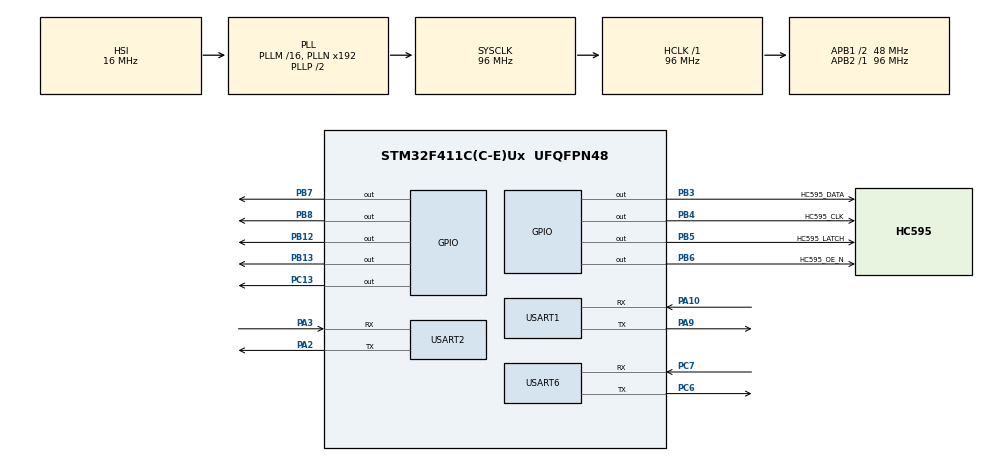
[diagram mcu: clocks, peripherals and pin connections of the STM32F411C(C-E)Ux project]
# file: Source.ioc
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Dma.Request0=USART1_TX
Dma.Request1=USART1_RX
Dma.Request2=USART2_TX
Dma.Request3=USART2_RX
Dma.Request4=USART6_TX
Dma.Request5=USART6_RX
Dma.USART1_RX.1.Direction=DMA_PERIPH_TO_MEMORY
Dma.USART1_RX.1.FIFOMode=DMA_FIFOMODE_DISABLE
Dma.USART1_RX.1.Instance=DMA2_Stream2
Dma.USART1_RX.1.MemDataAlignment=DMA_MDATAALIGN_BYTE
Dma.USART1_RX.1.MemInc=DMA_MINC_ENABLE
Dma.USART1_RX.1.Mode=DMA_CIRCULAR
Dma.USART1_RX.1.PeriphDataAlignment=DMA_PDATAALIGN_BYTE
Dma.USART1_RX.1.PeriphInc=DMA_PINC_DISABLE
Dma.USART1_RX.1.Priority=DMA_PRIORITY_LOW
Dma.USART1_TX.0.Direction=DMA_MEMORY_TO_PERIPH
Dma.USART1_TX.0.FIFOMode=DMA_FIFOMODE_DISABLE
Dma.USART1_TX.0.Instance=DMA2_Stream7
Dma.USART1_TX.0.MemDataAlignment=DMA_MDATAALIGN_BYTE
Dma.USART1_TX.0.MemInc=DMA_MINC_ENABLE
Dma.USART1_TX.0.Mode=DMA_NORMAL
Dma.USART1_TX.0.PeriphDataAlignment=DMA_PDATAALIGN_BYTE
Dma.USART1_TX.0.PeriphInc=DMA_PINC_DISABLE
Dma.USART1_TX.0.Priority=DMA_PRIORITY_LOW
Dma.USART2_RX.3.Direction=DMA_PERIPH_TO_MEMORY
Dma.USART2_RX.3.FIFOMode=DMA_FIFOMODE_DISABLE
Dma.USART2_RX.3.Instance=DMA1_Stream5
Dma.USART2_RX.3.MemDataAlignment=DMA_MDATAALIGN_BYTE
Dma.USART2_RX.3.MemInc=DMA_MINC_ENABLE
Dma.USART2_RX.3.Mode=DMA_CIRCULAR
Dma.USART2_RX.3.PeriphDataAlignment=DMA_PDATAALIGN_BYTE
Dma.USART2_RX.3.PeriphInc=DMA_PINC_DISABLE
Dma.USART2_RX.3.Priority=DMA_PRIORITY_LOW
Dma.USART2_TX.2.Direction=DMA_MEMORY_TO_PERIPH
Dma.USART2_TX.2.FIFOMode=DMA_FIFOMODE_DISABLE
Dma.USART2_TX.2.Instance=DMA1_Stream6
Dma.USART2_TX.2.MemDataAlignment=DMA_MDATAALIGN_BYTE
Dma.USART2_TX.2.MemInc=DMA_MINC_ENABLE
Dma.USART2_TX.2.Mode=DMA_NORMAL
Dma.USART2_TX.2.PeriphDataAlignment=DMA_PDATAALIGN_BYTE
Dma.USART2_TX.2.PeriphInc=DMA_PINC_DISABLE
Dma.USART2_TX.2.Priority=DMA_PRIORITY_LOW
Dma.USART6_RX.5.Direction=DMA_PERIPH_TO_MEMORY
Dma.USART6_RX.5.FIFOMode=DMA_FIFOMODE_DISABLE
Dma.USART6_RX.5.Instance=DMA2_Stream1
Dma.USART6_RX.5.MemDataAlignment=DMA_MDATAALIGN_BYTE
Dma.USART6_RX.5.MemInc=DMA_MINC_ENABLE
Dma.USART6_RX.5.Mode=DMA_CIRCULAR
Dma.USART6_RX.5.PeriphDataAlignment=DMA_PDATAALIGN_BYTE
Dma.USART6_RX.5.PeriphInc=DMA_PINC_DISABLE
Dma.USART6_RX.5.Priority=DMA_PRIORITY_LOW
Dma.USART6_TX.4.Direction=DMA_MEMORY_TO_PERIPH
Dma.USART6_TX.4.FIFOMode=DMA_FIFOMODE_DISABLE
Dma.USART6_TX.4.Instance=DMA2_Stream6
Dma.USART6_TX.4.MemDataAlignment=DMA_MDATAALIGN_BYTE
Dma.USART6_TX.4.MemInc=DMA_MINC_ENABLE
Dma.USART6_TX.4.Mode=DMA_NORMAL
Dma.USART6_TX.4.PeriphDataAlignment=DMA_PDATAALIGN_BYTE
Dma.USART6_TX.4.PeriphInc=DMA_PINC_DISABLE
Dma.USART6_TX.4.Priority=DMA_PRIORITY_LOW
FREERTOS.Tasks01=defaultTask,24,768,StartDefaultTask,Default,NULL,Static,NULL,NULL
Mcu.Family=STM32F4
Mcu.Name=STM32F411C(C-E)Ux
Mcu.Package=UFQFPN48
NVIC.DMA1_Stream5_IRQn=true\:5\:0\:false\:false\:true\:true\:false\:true\:true
NVIC.DMA1_Stream6_IRQn=true\:5\:0\:false\:false\:true\:true\:false\:true\:true
NVIC.DMA2_Stream1_IRQn=true\:5\:0\:false\:false\:true\:true\:false\:true\:true
NVIC.DMA2_Stream2_IRQn=true\:5\:0\:false\:false\:true\:true\:false\:true\:true
NVIC.DMA2_Stream6_IRQn=true\:5\:0\:false\:false\:true\:true\:false\:true\:true
NVIC.DMA2_Stream7_IRQn=true\:5\:0\:false\:false\:true\:true\:false\:true\:true
NVIC.PriorityGroup=NVIC_PRIORITYGROUP_4
NVIC.TIM1_TRG_COM_TIM11_IRQn=true\:15\:0\:false\:false\:true\:false\:false\:true\:true
NVIC.TimeBase=TIM1_TRG_COM_TIM11_IRQn
NVIC.TimeBaseIP=TIM11
NVIC.USART1_IRQn=true\:5\:0\:false\:false\:true\:true\:false\:true\:true
NVIC.USART2_IRQn=true\:5\:0\:false\:false\:true\:true\:true\:true\:true
NVIC.USART6_IRQn=true\:5\:0\:false\:false\:true\:true\:false\:true\:true
PA10.Mode=Asynchronous
PA10.Signal=USART1_RX
PA2.Mode=Asynchronous
PA2.Signal=USART2_TX
PA3.Mode=Asynchronous
PA3.Signal=USART2_RX
PA9.Mode=Asynchronous
PA9.Signal=USART1_TX
PC6.Mode=Asynchronous
PC6.Signal=USART6_TX
PC7.Mode=Asynchronous
PC7.Signal=USART6_RX
PB12.Signal=GPIO_Output
PB13.Signal=GPIO_Output
PB3.GPIO_Label=HC595_DATA
PB3.Signal=GPIO_Output
PB4.GPIO_Label=HC595_CLK
PB4.Signal=GPIO_Output
PB5.GPIO_Label=HC595_LATCH
PB5.Signal=GPIO_Output
PB6.GPIO_Label=HC595_OE_N
PB6.Signal=GPIO_Output
PB7.Signal=GPIO_Output
PB8.Signal=GPIO_Output
PC13-ANTI_TAMP.Signal=GPIO_Output
ProjectManager.HeapSize=0x200
ProjectManager.StackSize=0x400
ProjectManager.TargetToolchain=CMake
RCC.AHBFreq_Value=96000000
RCC.APB1CLKDivider=RCC_HCLK_DIV2
RCC.APB1Freq_Value=48000000
RCC.APB1TimFreq_Value=96000000
RCC.APB2Freq_Value=96000000
RCC.APB2TimFreq_Value=96000000
RCC.CortexFreq_Value=96000000
RCC.HCLKFreq_Value=96000000
RCC.HSE_VALUE=25000000
RCC.HSI_VALUE=16000000
RCC.LSE_VALUE=32768
RCC.SYSCLKFreq_VALUE=96000000
RCC.SYSCLKSource=RCC_SYSCLKSOURCE_PLLCLK
RCC.VCOOutputFreq_Value=192000000
USART1.VirtualMode=VM_ASYNC
USART2.VirtualMode=VM_ASYNC
USART6.VirtualMode=VM_ASYNC
VP_FREERTOS_VS_CMSIS_V2.Mode=CMSIS_V2
VP_SYS_VS_tim11.Mode=TIM11
VP_WWDG_VS_WWDG.Mode=WWDG_Activate
WWDG.Counter=127
WWDG.Prescaler=WWDG_PRESCALER_8
WWDG.Window=127
board=custom

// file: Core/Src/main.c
/* USER CODE BEGIN Header */
/**
  ******************************************************************************
  * @file           : main.c
  * @brief          : Main program body
  ******************************************************************************
  * @attention
  *
  * Copyright (c) 2026 STMicroelectronics.
  * All rights reserved.
  *
  * This software is licensed under terms that can be found in the LICENSE file
  * in the root directory of this software component.
  * If no LICENSE file comes with this software, it is provided AS-IS.
  *
  ******************************************************************************
  */
/* USER CODE END Header */
#include "main.h"
#include "cmsis_os.h"
#include "FreeRTOS.h"
#include "task.h"

/* USER CODE BEGIN Includes */
#include "router_application.h"
#include "log.h"

/* USER CODE END Includes */

UART_HandleTypeDef huart1;
UART_HandleTypeDef huart2;
UART_HandleTypeDef huart6;
DMA_HandleTypeDef hdma_usart1_tx;
DMA_HandleTypeDef hdma_usart1_rx;
DMA_HandleTypeDef hdma_usart2_tx;
DMA_HandleTypeDef hdma_usart2_rx;
DMA_HandleTypeDef hdma_usart6_tx;
DMA_HandleTypeDef hdma_usart6_rx;

WWDG_HandleTypeDef hwwdg;

/* Definitions for defaultTask */
osThreadId_t defaultTaskHandle;
const osThreadAttr_t defaultTask_attributes = {
  .name = "defaultTask",
  .stack_size = 128 * 4,
  .priority = (osPriority_t) osPriorityNormal,
};

void SystemClock_Config(void);
static void MX_GPIO_Init(void);
static void MX_DMA_Init(void);
static void MX_USART1_UART_Init(void);
static void MX_WWDG_Init(void);
static void MX_USART2_UART_Init(void);
static void MX_USART6_UART_Init(void);
void StartDefaultTask(void *argument);

/* USER CODE BEGIN 0 */

/* Static-only FreeRTOS needs application-owned memory for the idle task. The
 * router itself is the only application task created by this project. */
static StaticTask_t idle_task_tcb;
static StackType_t idle_task_stack[configMINIMAL_STACK_SIZE];

void vApplicationGetIdleTaskMemory(StaticTask_t **tcb, StackType_t **stack,
                                   uint32_t *stack_size)
{
  *tcb = &idle_task_tcb;
  *stack = idle_task_stack;
  *stack_size = configMINIMAL_STACK_SIZE;
}

#if (configUSE_TIMERS == 1)
static StaticTask_t timer_task_tcb;
static StackType_t timer_task_stack[configTIMER_TASK_STACK_DEPTH];

void vApplicationGetTimerTaskMemory(StaticTask_t **tcb, StackType_t **stack,
                                    uint32_t *stack_size)
{
  *tcb = &timer_task_tcb;
  *stack = timer_task_stack;
  *stack_size = configTIMER_TASK_STACK_DEPTH;
}
#endif

/* USER CODE END 0 */

int main(void)
{

  /* MCU Configuration--------------------------------------------------------*/

  /* Reset of all peripherals, Initializes the Flash interface and the Systick. */
  HAL_Init();
  log_init();

  /* Configure the system clock */
  SystemClock_Config();

  /* Initialize all configured peripherals */
  MX_GPIO_Init();
  MX_DMA_Init();
  MX_USART1_UART_Init();
  MX_WWDG_Init();
  MX_USART2_UART_Init();
  MX_USART6_UART_Init();
  /* USER CODE BEGIN 2 */
  log_println("[BOOT] UART1=debug UART2=PC UART6=GOM");
  /* Application init is after GPIO/UART init: relay_matrix_init() forces all
     eight coils off before the scheduler can accept any PC command. */
  router_application_init();

  /* USER CODE END 2 */

  /* Init scheduler */
  osKernelInitialize();

  /* Create the thread(s) */
  /* creation of defaultTask */
  defaultTaskHandle = router_application_create_task(StartDefaultTask,
                                                      &defaultTask_attributes);

  /* Start scheduler */
  osKernelStart();

  /* We should never get here as control is now taken by the scheduler */

  /* Infinite loop */
  while (1)
  {

  }
}

void SystemClock_Config(void)
{
  RCC_OscInitTypeDef RCC_OscInitStruct = {0};
  RCC_ClkInitTypeDef RCC_ClkInitStruct = {0};

  /** Configure the main internal regulator output voltage
  */
  __HAL_RCC_PWR_CLK_ENABLE();
  __HAL_PWR_VOLTAGESCALING_CONFIG(PWR_REGULATOR_VOLTAGE_SCALE1);

  /** Initializes the RCC Oscillators according to the specified parameters
  * in the RCC_OscInitTypeDef structure.
  */
  RCC_OscInitStruct.OscillatorType = RCC_OSCILLATORTYPE_HSI;
  RCC_OscInitStruct.HSIState = RCC_HSI_ON;
  RCC_OscInitStruct.HSICalibrationValue = RCC_HSICALIBRATION_DEFAULT;
  RCC_OscInitStruct.PLL.PLLState = RCC_PLL_ON;
  RCC_OscInitStruct.PLL.PLLSource = RCC_PLLSOURCE_HSI;
  RCC_OscInitStruct.PLL.PLLM = 16;
  RCC_OscInitStruct.PLL.PLLN = 192;
  RCC_OscInitStruct.PLL.PLLP = RCC_PLLP_DIV2;
  RCC_OscInitStruct.PLL.PLLQ = 4;
  if (HAL_RCC_OscConfig(&RCC_OscInitStruct) != HAL_OK)
  {
    Error_Handler();
  }

  /** Initializes the CPU, AHB and APB buses clocks
  */
  RCC_ClkInitStruct.ClockType = RCC_CLOCKTYPE_HCLK|RCC_CLOCKTYPE_SYSCLK
                              |RCC_CLOCKTYPE_PCLK1|RCC_CLOCKTYPE_PCLK2;
  RCC_ClkInitStruct.SYSCLKSource = RCC_SYSCLKSOURCE_PLLCLK;
  RCC_ClkInitStruct.AHBCLKDivider = RCC_SYSCLK_DIV1;
  RCC_ClkInitStruct.APB1CLKDivider = RCC_HCLK_DIV2;
  RCC_ClkInitStruct.APB2CLKDivider = RCC_HCLK_DIV1;

  if (HAL_RCC_ClockConfig(&RCC_ClkInitStruct, FLASH_LATENCY_3) != HAL_OK)
  {
    Error_Handler();
  }
}

static void MX_USART1_UART_Init(void)
{

  huart1.Instance = USART1;
  huart1.Init.BaudRate = 115200;
  huart1.Init.WordLength = UART_WORDLENGTH_8B;
  huart1.Init.StopBits = UART_STOPBITS_1;
  huart1.Init.Parity = UART_PARITY_NONE;
  huart1.Init.Mode = UART_MODE_TX_RX;
  huart1.Init.HwFlowCtl = UART_HWCONTROL_NONE;
  huart1.Init.OverSampling = UART_OVERSAMPLING_16;
  if (HAL_UART_Init(&huart1) != HAL_OK)
  {
    Error_Handler();
  }

}

static void MX_USART2_UART_Init(void)
{

  huart2.Instance = USART2;
  huart2.Init.BaudRate = 115200;
  huart2.Init.WordLength = UART_WORDLENGTH_8B;
  huart2.Init.StopBits = UART_STOPBITS_1;
  huart2.Init.Parity = UART_PARITY_NONE;
  huart2.Init.Mode = UART_MODE_TX_RX;
  huart2.Init.HwFlowCtl = UART_HWCONTROL_NONE;
  huart2.Init.OverSampling = UART_OVERSAMPLING_16;
  if (HAL_UART_Init(&huart2) != HAL_OK)
  {
    Error_Handler();
  }

}

static void MX_USART6_UART_Init(void)
{
  huart6.Instance = USART6;
  huart6.Init.BaudRate = 115200;
  huart6.Init.WordLength = UART_WORDLENGTH_8B;
  huart6.Init.StopBits = UART_STOPBITS_1;
  huart6.Init.Parity = UART_PARITY_NONE;
  huart6.Init.Mode = UART_MODE_TX_RX;
  huart6.Init.HwFlowCtl = UART_HWCONTROL_NONE;
  huart6.Init.OverSampling = UART_OVERSAMPLING_16;
  if (HAL_UART_Init(&huart6) != HAL_OK)
  {
    Error_Handler();
  }
}

static void MX_WWDG_Init(void)
{

  hwwdg.Instance = WWDG;
  hwwdg.Init.Prescaler = WWDG_PRESCALER_8;
  hwwdg.Init.Window = 127;
  hwwdg.Init.Counter = 127;
  hwwdg.Init.EWIMode = WWDG_EWI_DISABLE;
  if (HAL_WWDG_Init(&hwwdg) != HAL_OK)
  {
    Error_Handler();
  }

}

static void MX_DMA_Init(void)
{

  /* DMA controller clock enable */
  __HAL_RCC_DMA2_CLK_ENABLE();
  __HAL_RCC_DMA1_CLK_ENABLE();

  /* DMA interrupt init */
  /* DMA1_Stream5_IRQn interrupt configuration */
  HAL_NVIC_SetPriority(DMA1_Stream5_IRQn, 5, 0);
  HAL_NVIC_EnableIRQ(DMA1_Stream5_IRQn);
  /* DMA1_Stream6_IRQn interrupt configuration */
  HAL_NVIC_SetPriority(DMA1_Stream6_IRQn, 5, 0);
  HAL_NVIC_EnableIRQ(DMA1_Stream6_IRQn);
  /* DMA2_Stream1_IRQn interrupt configuration */
  HAL_NVIC_SetPriority(DMA2_Stream1_IRQn, 5, 0);
  HAL_NVIC_EnableIRQ(DMA2_Stream1_IRQn);
  /* DMA2_Stream6_IRQn interrupt configuration */
  HAL_NVIC_SetPriority(DMA2_Stream6_IRQn, 5, 0);
  HAL_NVIC_EnableIRQ(DMA2_Stream6_IRQn);
  /* DMA2_Stream2_IRQn interrupt configuration */
  HAL_NVIC_SetPriority(DMA2_Stream2_IRQn, 5, 0);
  HAL_NVIC_EnableIRQ(DMA2_Stream2_IRQn);
  /* DMA2_Stream7_IRQn interrupt configuration */
  HAL_NVIC_SetPriority(DMA2_Stream7_IRQn, 5, 0);
  HAL_NVIC_EnableIRQ(DMA2_Stream7_IRQn);

}

static void MX_GPIO_Init(void)
{
  GPIO_InitTypeDef GPIO_InitStruct = {0};

  /* GPIO Ports Clock Enable */
  __HAL_RCC_GPIOC_CLK_ENABLE();
  __HAL_RCC_GPIOA_CLK_ENABLE();
  __HAL_RCC_GPIOB_CLK_ENABLE();

  /*Configure GPIO pin Output Level */
  HAL_GPIO_WritePin(GPIOC, GPIO_PIN_13, GPIO_PIN_RESET);

  /*Configure GPIO pin Output Level */
  /* PB6 is 74HC595 /OE (active low): keep relay outputs disabled during
     peripheral initialisation. */
  HAL_GPIO_WritePin(GPIOB, GPIO_PIN_12|GPIO_PIN_13|GPIO_PIN_3|GPIO_PIN_4
                          |GPIO_PIN_5|GPIO_PIN_7|GPIO_PIN_8, GPIO_PIN_RESET);
  HAL_GPIO_WritePin(GPIOB, GPIO_PIN_6, GPIO_PIN_SET);

  /*Configure GPIO pin : PC13 */
  GPIO_InitStruct.Pin = GPIO_PIN_13;
  GPIO_InitStruct.Mode = GPIO_MODE_OUTPUT_PP;
  GPIO_InitStruct.Pull = GPIO_NOPULL;
  GPIO_InitStruct.Speed = GPIO_SPEED_FREQ_LOW;
  HAL_GPIO_Init(GPIOC, &GPIO_InitStruct);

  /*Configure GPIO pins : PB12 PB13 PB3 PB4
                           PB5 PB6 PB7 PB8 */
  GPIO_InitStruct.Pin = GPIO_PIN_12|GPIO_PIN_13|GPIO_PIN_3|GPIO_PIN_4
                          |GPIO_PIN_5|GPIO_PIN_6|GPIO_PIN_7|GPIO_PIN_8;
  GPIO_InitStruct.Mode = GPIO_MODE_OUTPUT_PP;
  GPIO_InitStruct.Pull = GPIO_NOPULL;
  GPIO_InitStruct.Speed = GPIO_SPEED_FREQ_LOW;
  HAL_GPIO_Init(GPIOB, &GPIO_InitStruct);

}

void StartDefaultTask(void *argument)
{
  /* USER CODE BEGIN 5 */
  /* This task is deliberately the sole owner of the GOM UART and relays. */
  router_application_task(argument);
  /* USER CODE END 5 */
}

void HAL_TIM_PeriodElapsedCallback(TIM_HandleTypeDef *htim)
{
  if (htim->Instance == TIM11)
  {
    HAL_IncTick();
  }
}

void Error_Handler(void)
{
  /* USER CODE BEGIN Error_Handler_Debug */
  /* Fail safe: an init/runtime HAL fault must release every GOM channel. */
  /* /OE is active low. A direct high write disables HC595 outputs even when
     application state or shift-register contents are no longer trustworthy. */
  GPIOB->BSRR = GPIO_PIN_6;
  log_println("[FATAL] Error_Handler: all relays off");
  __disable_irq();
  while (1)
  {
  }
  /* USER CODE END Error_Handler_Debug */
}
